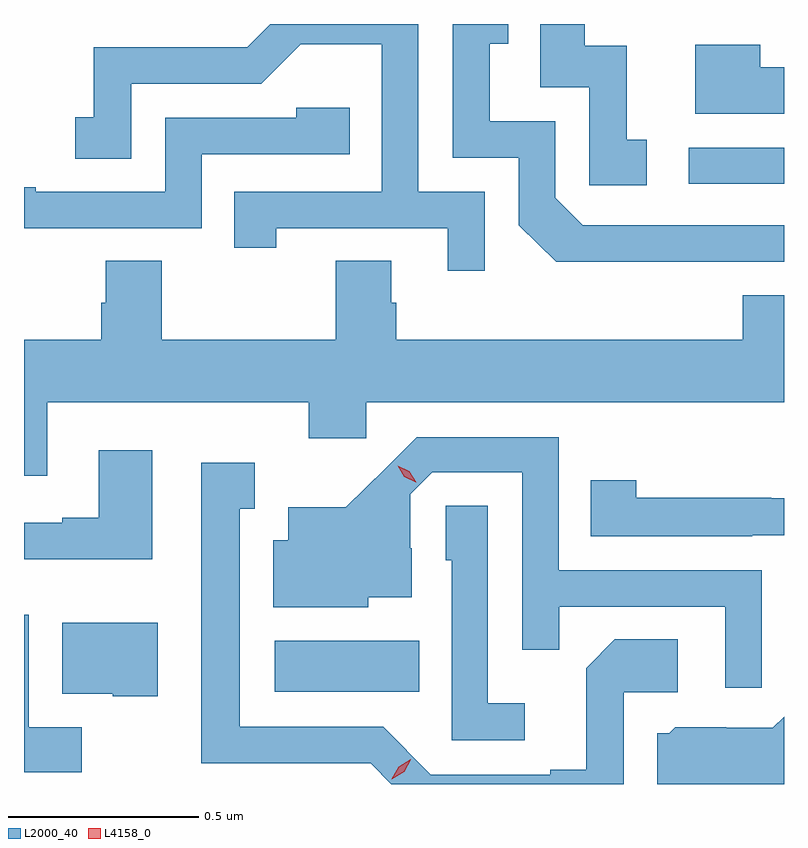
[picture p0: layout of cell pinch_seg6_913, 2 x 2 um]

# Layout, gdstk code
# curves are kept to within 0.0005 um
import gdstk
lib = gdstk.Library(unit=1e-6, precision=1e-09)
def R(c, l, rs):  # rectangles x0, y0, x1, y1
    for r in rs: c.add(gdstk.rectangle(r[:2], r[2:], *l))
def P(c, l, *ps):  # polygons
    for p in ps: c.add(gdstk.Polygon(p, *l))
L2000_40 = (2000, 40)
L4158_0 = (4158, 0)

pinch_seg6_913 = lib.new_cell('pinch_seg6_913')
R(pinch_seg6_913, L2000_40, [(155.136,915.938,155.516,916.072), (156.225,917.274,156.476,917.37)])
P(pinch_seg6_913, L2000_40, [(156.284,917.07),(156.476,917.07),(156.476,917.166),(155.946,917.166),(155.874,917.238),(155.874,917.439),(155.701,917.439),(155.701,917.643),(155.75,917.643),(155.75,917.695),(155.604,917.695),(155.604,917.343),(155.778,917.343),(155.778,917.166),(155.876,917.069),(156.284,917.069)],
  [(156.115,917.391),(156.062,917.391),(156.062,917.638),(155.951,917.638),(155.951,917.695),(155.835,917.695),(155.835,917.529),(155.964,917.529),(155.964,917.271),(156.115,917.271)],
  [(155.688,917.253),(155.514,917.253),(155.514,917.695),(155.124,917.695),(155.063,917.634),(154.66,917.634),(154.66,917.449),(154.611,917.449),(154.611,917.34),(154.758,917.34),(154.758,917.538),(155.1,917.538),(155.204,917.642),(155.418,917.642),(155.418,917.253),(155.029,917.253),(155.029,917.106),(155.14,917.106),(155.14,917.157),(155.591,917.157),(155.591,917.046),(155.688,917.046)],
  [(156.476,917.581),(156.413,917.581),(156.413,917.641),(156.242,917.641),(156.242,917.459),(156.476,917.459)],
  [(154.944,917.352),(155.333,917.352),(155.333,917.475),(155.193,917.475),(155.193,917.448),(154.848,917.448),(154.848,917.253),(154.507,917.253),(154.507,917.266),(154.476,917.266),(154.476,917.157),(154.944,917.157)],
  [(154.537,916.7),(155.225,916.7),(155.225,916.605),(155.376,916.605),(155.376,916.7),(156.476,916.7),(156.476,916.981),(156.368,916.981),(156.368,916.864),(155.456,916.864),(155.456,916.962),(155.443,916.962),(155.443,917.072),(155.296,917.072),(155.296,916.864),(154.839,916.864),(154.839,917.072),(154.691,917.072),(154.691,916.962),(154.679,916.962),(154.679,916.864),(154.476,916.864),(154.476,916.506),(154.537,916.506)],
  [(156.417,916.257),(155.883,916.257),(155.883,916.608),(155.51,916.608),(155.323,916.423),(155.171,916.423),(155.171,916.336),(155.132,916.336),(155.132,916.16),(155.382,916.16),(155.382,916.187),(155.497,916.187),(155.497,916.316),(155.493,916.316),(155.493,916.458),(155.55,916.515),(155.787,916.515),(155.787,916.048),(155.885,916.048),(155.885,916.161),(156.321,916.161),(156.321,915.948),(156.417,915.948)],
  [(154.813,916.573),(154.673,916.573),(154.673,916.396),(154.577,916.396),(154.577,916.383),(154.476,916.383),(154.476,916.286),(154.813,916.286)],
  [(156.054,915.936),(156.196,915.936),(156.196,916.076),(156.031,916.076),(155.955,916),(155.955,915.733),(155.861,915.733),(155.861,915.72),(155.547,915.72),(155.421,915.846),(155.044,915.846),(155.044,916.419),(155.083,916.419),(155.083,916.54),(154.943,916.54),(154.943,915.749),(155.166,915.749),(155.166,915.75),(155.388,915.75),(155.443,915.695),(156.054,915.695)],
  [(156.392,916.35),(156.476,916.35),(156.476,916.447),(156.443,916.447),(156.443,916.448),(156.087,916.448),(156.087,916.495),(155.968,916.495),(155.968,916.347),(156.392,916.347)],
  [(155.794,915.907),(155.697,915.907),(155.697,916.427),(155.586,916.427),(155.586,916.284),(155.601,916.284),(155.601,915.81),(155.794,915.81)],
  [(154.628,915.844),(154.489,915.844),(154.489,916.141),(154.476,916.141),(154.476,915.726),(154.628,915.726)],
  [(154.828,916.12),(154.577,916.12),(154.577,915.932),(154.71,915.932),(154.71,915.926),(154.828,915.926)],
  [(156.476,915.872),(156.447,915.843),(156.324,915.843),(156.324,915.844),(156.19,915.844),(156.174,915.828),(156.143,915.828),(156.143,915.695),(156.476,915.695)])
P(pinch_seg6_913, L4158_0, [(155.507,916.489),(155.476,916.504),(155.459,916.533),(155.459,916.533),(155.459,916.533),(155.49,916.518),(155.508,916.489),(155.508,916.489)],
  [(155.444,915.708),(155.444,915.709),(155.462,915.741),(155.494,915.76),(155.494,915.76),(155.494,915.759),(155.476,915.727),(155.444,915.708)])

lib.write_gds('pinch_seg6_913.gds')
